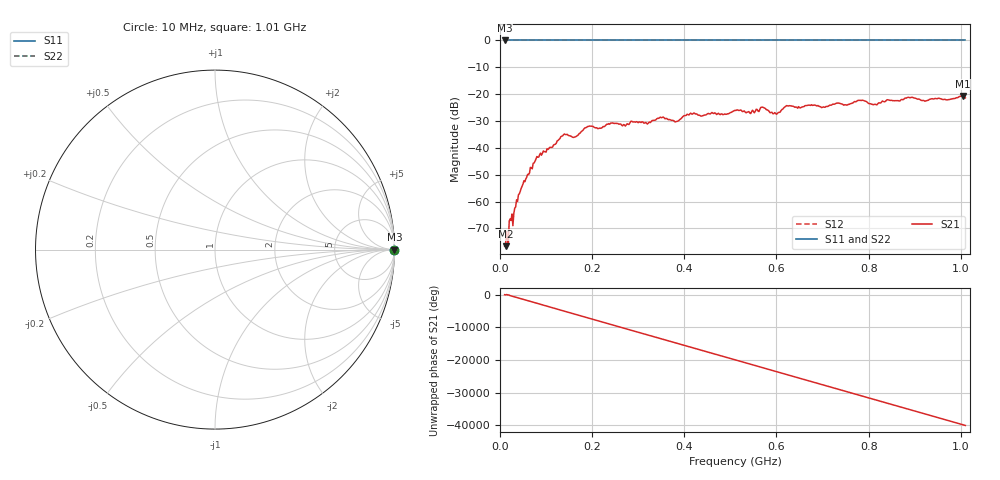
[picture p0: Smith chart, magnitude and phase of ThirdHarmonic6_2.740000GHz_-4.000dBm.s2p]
! 8/17/2025 6:47:26 AM
! C:\ANRITSUVNA\TEMP\TEMP.S2P
! CHANNEL.1
! TR.MEASUREMENT
! RAW.DATA
! RF.CORRECTION.OFF
! AVERAGING.OFF
! IF.BANDWIDTH: 5KHZ
! SWEEPTYPE:  FREQ.SWEEP(Linear)
! Reference Plane Port Info
! PORT:  PORT1  PORT2
! DISTANCE:  0  m  0  m
! TIME:  0  s  0  s
! PHASE.OFFSET:  0  deg.  0  deg.
! LOSS:  0  dB  0  dB
! REF.LOSS:  0  dB  0  dB
! REF.FREQ:  0  Hz  0  Hz
! Power Info
! POWER:  -20  dBm  -20  dBm
! EFF.POWER:  -20  dBm  -20  dBm
! SOURCE.ATTEN:  0  dB  0  dB
! TEST.ATTEN:  0  dB  0  dB
# GHZ S RI R 50.0
! FREQ.GHZ  S11RE  S11IM  S21RE  S21IM  S12RE  S12IM  S22RE  S22IM
!; PortSelection: Port_12
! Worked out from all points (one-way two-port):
!   501 points, 10 MHz to 1.01 GHz, reference 50 ohm
!   highest |S21| = -20.70 dB at 1.004 GHz (marker M1); lowest = -76.6 dB at 12 MHz (marker M2)
!   lowest |S11| = 0.0 dB at 10 MHz (marker M3)
!   |S11| at or under -10 dB: nowhere
!   |S22| runs from 0.0 to 0.0 dB; largest |S21 - S12| = 1.1
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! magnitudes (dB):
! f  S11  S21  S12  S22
! 10 MHz  0.0  -76.6  0.0  0.0
! 12 MHz  0.0  -76.6  0.0  0.0
! 44 MHz  0.0  -56.2  0.0  0.0
! 76 MHz  0.0  -45.0  0.0  0.0
! 136 MHz  0.0  -35.5  0.0  0.0
! 162 MHz  0.0  -35.9  0.0  0.0
! 178 MHz  0.0  -33.7  0.0  0.0
! 194 MHz  0.0  -31.9  0.0  0.0
! 322 MHz  0.0  -30.7  0.0  0.0
! 344 MHz  0.0  -29.0  0.0  0.0
! 382 MHz  0.0  -30.2  0.0  0.0
! 410 MHz  0.0  -27.8  0.0  0.0
! 510 MHz  0.0  -26.0  0.0  0.0
! 570 MHz  0.0  -24.8  0.0  0.0
! 598 MHz  0.0  -27.1  0.0  0.0
! 624 MHz  0.0  -24.4  0.0  0.0
! 678 MHz  0.0  -24.2  0.0  0.0
! 782 MHz  0.0  -22.3  0.0  0.0
! 814 MHz  0.0  -23.7  0.0  0.0
! 844 MHz  0.0  -22.2  0.0  0.0
! 1.004 GHz  0.0  -20.7  0.0  0.0
! 1.01 GHz  0.0  -21.4  0.0  0.0
